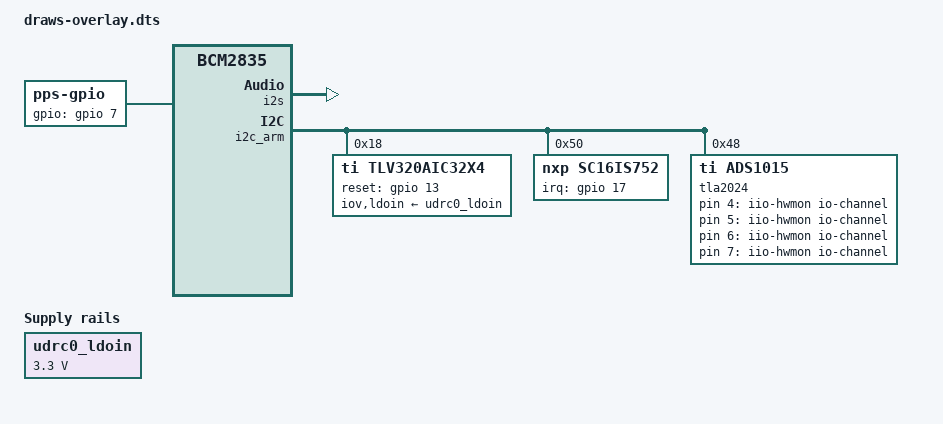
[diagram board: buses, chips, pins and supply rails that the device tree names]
#include <dt-bindings/clock/bcm2835.h>
/*
 * Device tree overlay for the DRAWS Hardware
 */

/dts-v1/;
/plugin/;

/ {
    compatible = "brcm,bcm2835";
    fragment@0 {
        target = <&i2s>;
        __overlay__ {
            status = "okay";
        };
    };

    fragment@1 {
        target-path = "/";
        __overlay__ {
            regulators {
                compatible = "simple-bus";
                #address-cells = <1>;
                #size-cells = <0>;

                udrc0_ldoin: udrc0_ldoin {
                    compatible = "regulator-fixed";
                    regulator-name = "ldoin";
                    regulator-min-microvolt = <3300000>;
                    regulator-max-microvolt = <3300000>;
                    regulator-always-on;
                };

                sc16is752_clk: sc16is752_draws_clk {
                    compatible = "fixed-clock";
                    #clock-cells = <0>;
                    clock-frequency = <1843200>;
                };
            };

            pps: pps {
                compatible = "pps-gpio";
                pinctrl-names = "default";
                pinctrl-0 = <&pps_pins>;
                gpios = <&gpio 7 0>;
                status = "okay";
            };

            iio-hwmon {
                compatible = "iio-hwmon";
                status = "okay";
                io-channels = <&tla2024 4>, <&tla2024 5>, <&tla2024 6>,
                              <&tla2024 7>;
            };
        };
    };

    fragment@2 {
        target = <&i2c_arm>;
        __overlay__ {
            #address-cells = <1>;
            #size-cells = <0>;
            status = "okay";

            tlv320aic32x4: tlv320aic32x4@18 {
                compatible = "ti,tlv320aic32x4";
                reg = <0x18>;
                #sound-dai-cells = <0>;
                status = "okay";

                clocks = <&clocks BCM2835_CLOCK_GP0>;
                clock-names = "mclk";
                assigned-clocks = <&clocks BCM2835_CLOCK_GP0>;
                assigned-clock-rates = <25000000>;

                pinctrl-names = "default";
                pinctrl-0 = <&gpclk0_pin &aic3204_reset>;

                reset-gpios = <&gpio 13 0>;

                iov-supply = <&udrc0_ldoin>;
                ldoin-supply = <&udrc0_ldoin>;
            };

            sc16is752: sc16is752@50 {
                compatible = "nxp,sc16is752";
                reg = <0x50>;
                clocks = <&sc16is752_clk>;
                interrupt-parent = <&gpio>;
                interrupts = <17 2>; /* IRQ_TYPE_EDGE_FALLING */

                pinctrl-names = "default";
                pinctrl-0 = <&sc16is752_irq>;
            };

            tla2024: tla2024@48 {
                compatible = "ti,ads1015";
                reg = <0x48>;
                #address-cells = <1>;
                #size-cells = <0>;
                #io-channel-cells = <1>;

                adc_ch4: channel@4 {
                    reg = <4>;
                    ti,gain = <1>;
                    ti,datarate = <4>;
                };

                adc_ch5: channel@5 {
                    reg = <5>;
                    ti,gain = <1>;
                    ti,datarate = <4>;
                };

                adc_ch6: channel@6 {
                    reg = <6>;
                    ti,gain = <2>;
                    ti,datarate = <4>;
                };

                adc_ch7: channel@7 {
                    reg = <7>;
                    ti,gain = <2>;
                    ti,datarate = <4>;
                };
            };
        };
    };

    fragment@3 {
        target = <&sound>;
        snd: __overlay__ {
            compatible = "simple-audio-card";
            i2s-controller = <&i2s>;
            status = "okay";

            simple-audio-card,name = "draws";
            simple-audio-card,format = "i2s";

            simple-audio-card,bitclock-master = <&dailink0_master>;
            simple-audio-card,frame-master = <&dailink0_master>;

            simple-audio-card,widgets =
                "Line", "Line In",
                "Line", "Line Out";

            simple-audio-card,routing =
                "IN1_R", "Line In",
                "IN1_L", "Line In",
                "CM_L", "Line In",
                "CM_R", "Line In",
                "Line Out", "LOR",
                "Line Out", "LOL";

            dailink0_master: simple-audio-card,cpu {
                sound-dai = <&i2s>;
            };

            simple-audio-card,codec {
                sound-dai = <&tlv320aic32x4>;
            };
        };
    };

    fragment@4 {
        target = <&gpio>;
        __overlay__ {
            gpclk0_pin: gpclk0_pin {
                brcm,pins = <4>;
                brcm,function = <4>;
            };

            aic3204_reset: aic3204_reset {
                brcm,pins = <13>;
                brcm,function = <1>;
                brcm,pull = <1>;
            };

            aic3204_gpio: aic3204_gpio {
                brcm,pins = <26>;
            };

            sc16is752_irq: sc16is752_irq {
                brcm,pins = <17>;
                brcm,function = <0>;
                brcm,pull = <2>;
            };

            pps_pins: pps_pins {
                brcm,pins = <7>;
                brcm,function = <0>;
                brcm,pull = <0>;
            };
        };
    };

    __overrides__ {
        draws_adc_ch4_gain = <&adc_ch4>,"ti,gain:0";
        draws_adc_ch4_datarate = <&adc_ch4>,"ti,datarate:0";
        draws_adc_ch5_gain = <&adc_ch5>,"ti,gain:0";
        draws_adc_ch5_datarate = <&adc_ch5>,"ti,datarate:0";
        draws_adc_ch6_gain = <&adc_ch6>,"ti,gain:0";
        draws_adc_ch6_datarate = <&adc_ch6>,"ti,datarate:0";
        draws_adc_ch7_gain = <&adc_ch7>,"ti,gain:0";
        draws_adc_ch7_datarate = <&adc_ch7>,"ti,datarate:0";
        alsaname = <&snd>, "simple-audio-card,name";
    };
};
